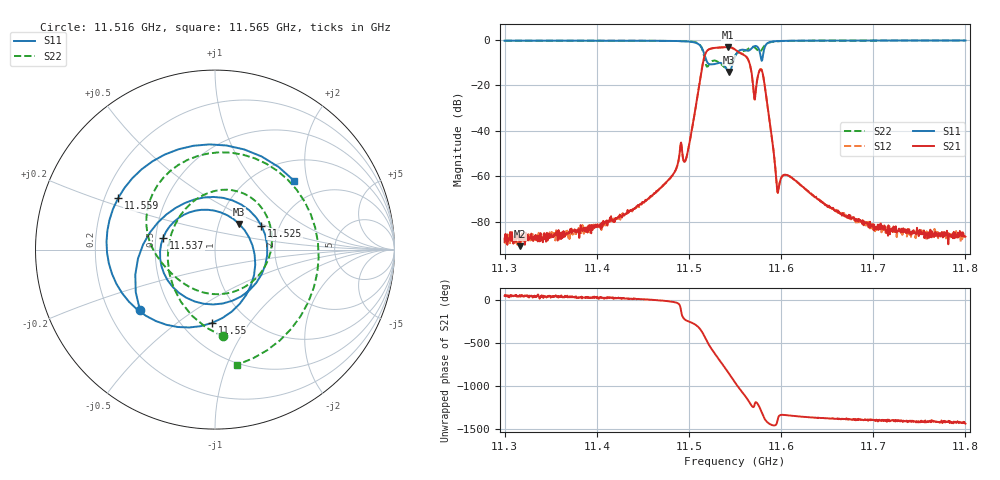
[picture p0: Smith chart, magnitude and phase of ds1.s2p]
! Created with skrf (http://scikit-rf.org).
# Hz S RI R 50.0
!freq ReS11 ImS11 ReS21 ImS21 ReS12 ImS12 ReS22 ImS22
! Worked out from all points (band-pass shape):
!   1001 points, 11.3 GHz to 11.8 GHz, reference 50 ohm
!   highest |S21| = -3.12 dB at 11.543 GHz (marker M1); lowest = -90.8 dB at 11.316 GHz (marker M2)
!   |S21| within 3 dB of the highest: 11.51782 GHz to 11.55732 GHz (39.5 MHz wide, 0.342 % of centre)
!   lowest |S11| = -14.1 dB at 11.543 GHz (marker M3), VSWR 1.49, Z = 62.6 + j18.6 ohm
!   |S11| at or under -10 dB: 11.52016 GHz to 11.5477 GHz (27.53 MHz wide, 0.239 % of centre)
!   |S22| runs from -12.1 to -0.2 dB; largest |S21 - S12| = 0.014
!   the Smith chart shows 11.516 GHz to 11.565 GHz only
!   S11 on the Smith chart (normalised r, x): 11.516 GHz: 0.33, -0.32; 11.525 GHz: 1.62, +0.47; 11.537 GHz: 0.55, +0.08; 11.55 GHz: 0.69, -0.68; 11.559 GHz: 0.26, +0.23; 11.565 GHz: 1.43, +1.67
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1.13e10  -0.7943 0.5457  2.4e-05 2.66e-05  2.86e-05 3.48e-05  -0.7751 0.5744
1.13165e10  -0.7636 0.5894  1.56e-05 2.44e-05  4.22e-05 2.76e-05  -0.745 0.6136
1.13835e10  -0.5789 0.7696  5.45e-05 4.43e-05  5.21e-05 3.39e-05  -0.5739 0.775
1.1467e10  0.0574 0.9572  0.0005 -3.98e-05  0.000499 -3.95e-05  -0.0471 0.961
1.15045e10  0.8955 0.011  0.000694 0.0151  0.000501 0.0149  0.7769 0.4784
1.1516e10  -0.418 -0.3384  0.2562 -0.2684  0.2592 -0.2732  0.0443 -0.484
1.1525e10  0.259 0.1329  -0.5228 0.399  -0.5185 0.3941  0.0698 0.3336
1.153e10  0.0434 -0.3003  0.2691 0.6167  0.2616 0.6214  0.2888 0.1847
1.15365e10  -0.2893 0.0657  0.5962 -0.3362  0.6018 -0.3446  0.1993 -0.1852
1.15425e10  0.0675 0.1919  -0.3744 -0.5895  -0.38 -0.5789  -0.1887 -0.1784
1.15435e10  0.1351 0.1427  -0.5221 -0.4628  -0.5215 -0.4506  -0.2321 -0.1421
1.15495e10  -0.0177 -0.409  -0.3658 0.5112  -0.3678 0.498  -0.3764 0.2243
1.155e10  -0.0796 -0.4265  -0.2904 0.5456  -0.2957 0.5334  -0.3645 0.2694
1.15585e10  -0.5402 0.2864  0.481 0.00226  0.4933 0.00401  0.4978 0.2699
1.1565e10  0.4398 0.3845  -0.0599 -0.3365  -0.0704 -0.3315  0.122 -0.6414
1.15705e10  0.1139 -0.7133  -0.0606 -0.0197  -0.0587 -0.0199  -0.6857 -0.1229
1.1575e10  -0.629 -0.2636  -0.1193 -0.115  -0.1174 -0.1189  -0.0735 0.5741
1.15815e10  0.4177 -0.4436  0.0441 0.1172  0.0441 0.117  0.4875 -0.543
1.15965e10  -0.8535 -0.4069  0.000247 0.000356  0.000243 0.000359  -0.7886 -0.5059
1.16335e10  -0.9199 0.2975  0.000116 0.00038  0.000109 0.000376  -0.9216 0.2928
1.1717e10  -0.6347 0.7372  4.02e-05 4.31e-05  5.52e-05 5.74e-05  -0.621 0.7501
1.18e10  -0.3878 0.8956  4.7e-05 1.83e-07  4.18e-05 1.15e-05  -0.3748 0.9012
